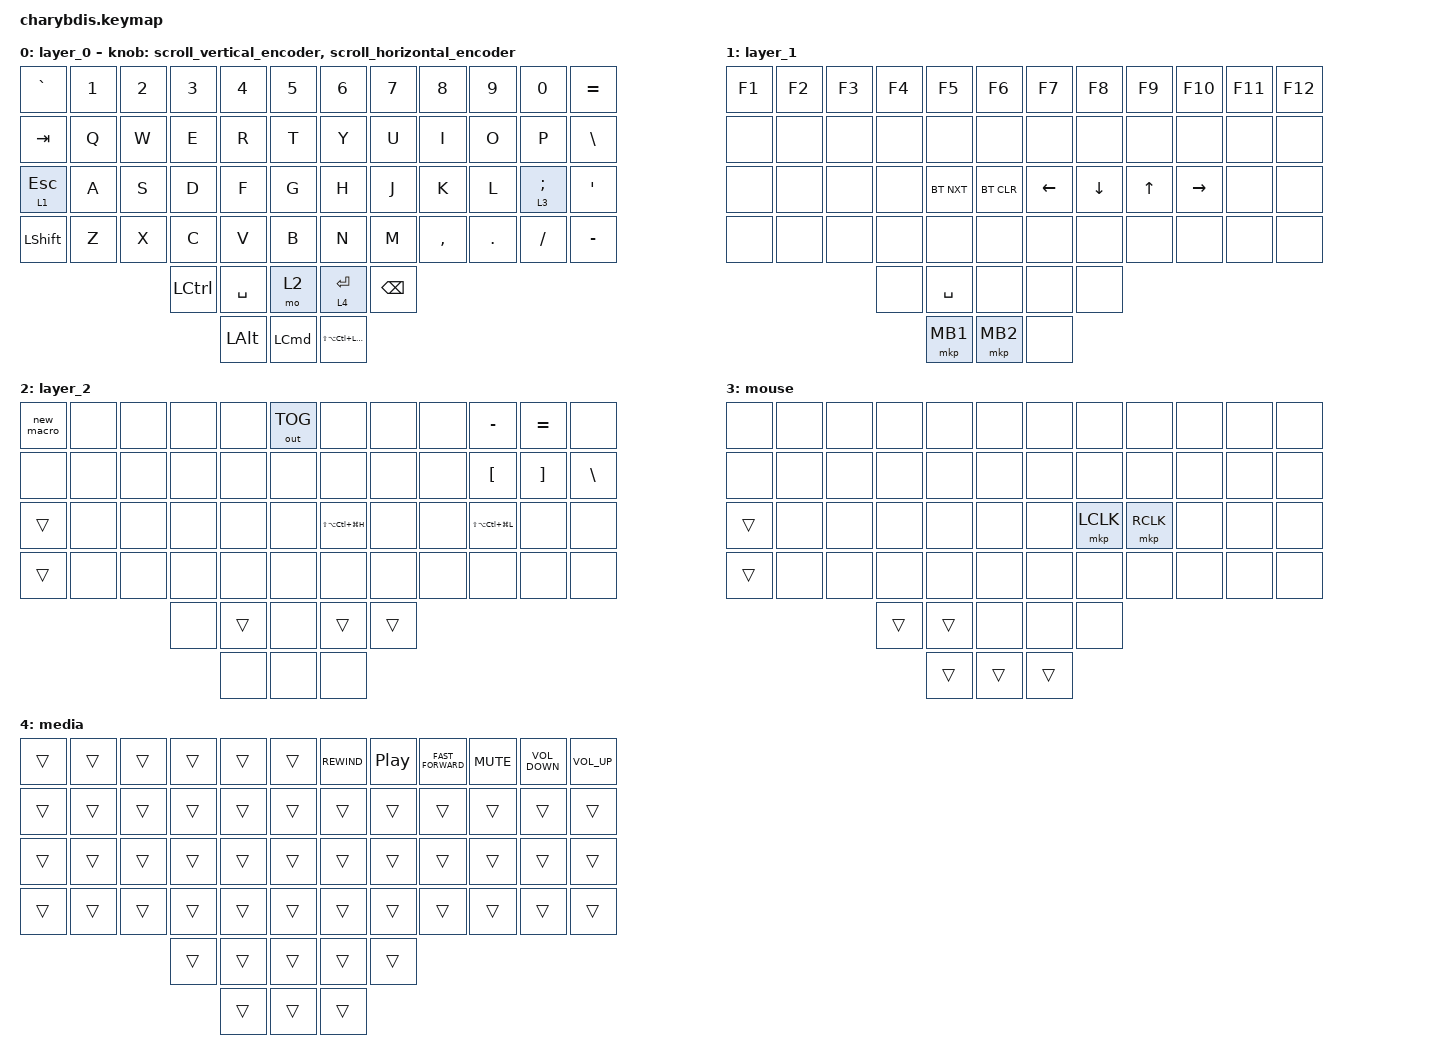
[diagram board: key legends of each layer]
#include <dt-bindings/zmk/mouse.h>
#include <input/processors.dtsi>
#include <zephyr/dt-bindings/input/input-event-codes.h>
#include <dt-bindings/zmk/input_transform.h>
#include <behaviors.dtsi>
#include <dt-bindings/zmk/bt.h>
#include <dt-bindings/zmk/keys.h>
#include <dt-bindings/zmk/outputs.h>
#include <dt-bindings/zmk/pointing.h>

#define ZMK_POINTING_DEFAULT_MOVE_VAL 1000 // 600
#define ZMK_POINTING_DEFAULT_SCRL_VAL 12   // 10

&lt {
    tapping-term-ms = <200>;
    flavor = "balanced";
    quick-tap-ms = <150>;
};

&mmv_input_listener { input-processors = <&zip_xy_scaler 3 3>; };

&mmv {
    acceleration-exponent = <1>;
    time-to-max-speed-ms = <250>;
    trigger-period-ms = <16>;
};

&msc_input_listener {
    input-processors =
        <&zip_scroll_scaler 1 1>,
        <&zip_scroll_transform (INPUT_TRANSFORM_Y_INVERT)>;
};

&msc {
    acceleration-exponent = <0>;
    time-to-max-speed-ms = <200>;
    delay-ms = <0>;
};

/ {
    // 上下滚动编码器行为

    scroll_vertical_encoder: scroll_vertical_encoder {
        compatible = "zmk,behavior-sensor-rotate";
        #sensor-binding-cells = <0>;
        bindings = <&msc SCRL_UP>, <&msc SCRL_DOWN>;

        tap-ms = <100>;
    };

    // 左右滚动编码器行为

    scroll_horizontal_encoder: scroll_horizontal_encoder {
        compatible = "zmk,behavior-sensor-rotate";
        #sensor-binding-cells = <0>;
        bindings = <&msc SCRL_RIGHT>, <&msc SCRL_LEFT>;

        tap-ms = <100>;
    };

    behaviors {
    };

    macros {
        new_macro: new_macro {
            compatible = "zmk,behavior-macro";
            #binding-cells = <0>;
            bindings = <&kp LS(Z) &kp I &kp G &kp LS(O) &kp V &kp E &kp R &kp LS(R) &kp U &kp S &kp T &kp N1 &kp N2 &kp N3 &kp EXCL>;
            label = "NEW_MACRO";
        };
    };

    keymap {
        compatible = "zmk,keymap";

        layer_0 {
            bindings = <
&kp GRAVE       &kp N1  &kp N2  &kp N3     &kp N4        &kp N5              &kp N6                    &kp N7         &kp N8     &kp N9      &kp N0           &kp EQUAL
&kp TAB         &kp Q   &kp W   &kp E      &kp R         &kp T               &kp Y                     &kp U          &kp I      &kp O       &kp P            &kp BACKSLASH
&lt 1 ESCAPE    &kp A   &kp S   &kp D      &kp F         &kp G               &kp H                     &kp J          &kp K      &kp L       &lt 3 SEMICOLON  &kp SQT
&kp LEFT_SHIFT  &kp Z   &kp X   &kp C      &kp V         &kp B               &kp N                     &kp M          &kp COMMA  &kp PERIOD  &kp FSLH         &kp MINUS
                                &kp LCTRL  &kp SPACE     &mo 2               &lt 4 ENTER               &kp BACKSPACE
                                           &kp LEFT_ALT  &kp LEFT_COMMAND    &kp LS(LA(LC(LEFT_GUI)))
            >;

            sensor-bindings =
                <&scroll_vertical_encoder>,
                // 编码器1：上下滚动,,,,,,,,,,,,,,,,,,,,,,,,
                <&scroll_horizontal_encoder>;

            // 编码器2：左右滚动
        };

        layer_1 {
            bindings = <
&kp F1  &kp F2  &kp F3  &kp F4  &kp F5      &kp F6        &kp F7          &kp F8          &kp F9        &kp F10    &kp F11  &kp F12
&none   &none   &none   &none   &none       &none         &none           &none           &none         &none      &none    &none
&none   &none   &none   &none   &bt BT_NXT  &bt BT_CLR    &kp LEFT_ARROW  &kp DOWN_ARROW  &kp UP_ARROW  &kp RIGHT  &none    &none
&none   &none   &none   &none   &none       &none         &none           &none           &none         &none      &none    &none
                        &none   &kp SPACE   &none         &none           &none
                                &mkp MB1    &mkp MB2      &none
            >;
        };

        layer_2 {
            bindings = <
&new_macro  &none  &none  &none  &none   &out OUT_TOG    &none                  &none   &none  &kp MINUS              &kp EQUAL          &none
&none       &none  &none  &none  &none   &none           &none                  &none   &none  &kp LEFT_BRACKET       &kp RIGHT_BRACKET  &kp BACKSLASH
&trans      &none  &none  &none  &none   &none           &kp LS(LA(LC(LG(H))))  &none   &none  &kp LS(LA(LC(LG(L))))  &none              &none
&trans      &none  &none  &none  &none   &none           &none                  &none   &none  &none                  &none              &none
                          &none  &trans  &none           &trans                 &trans
                                 &none   &none           &none
            >;
        };

        mouse {
            bindings = <
&none   &none  &none  &none   &none   &none     &none   &none      &none      &none  &none  &none
&none   &none  &none  &none   &none   &none     &none   &none      &none      &none  &none  &none
&trans  &none  &none  &none   &none   &none     &none   &mkp LCLK  &mkp RCLK  &none  &none  &none
&trans  &none  &none  &none   &none   &none     &none   &none      &none      &none  &none  &none
                      &trans  &trans  &none     &none   &none
                              &trans  &trans    &trans
            >;
        };

        media {
            bindings = <
&trans  &trans  &trans  &trans  &trans  &trans    &kp C_REWIND  &kp C_PLAY_PAUSE  &kp C_FAST_FORWARD  &kp K_MUTE  &kp C_VOLUME_DOWN  &kp C_VOLUME_UP
&trans  &trans  &trans  &trans  &trans  &trans    &trans        &trans            &trans              &trans      &trans             &trans
&trans  &trans  &trans  &trans  &trans  &trans    &trans        &trans            &trans              &trans      &trans             &trans
&trans  &trans  &trans  &trans  &trans  &trans    &trans        &trans            &trans              &trans      &trans             &trans
                        &trans  &trans  &trans    &trans        &trans
                                &trans  &trans    &trans
            >;
        };

        /* layer_2 {
            bindings = <
&none  &none   &none    &none   &none         &none         &kp N1         &none         &none     &none  &none   &to 0
&none  &none   &none    &none   &none         &none         &none         &none          &rgb_ug RGB_BRD &rgb_ug RGB_BRI  &rgb_ug RGB_EFF   &rgb_ug RGB_TOG
&none  &none   &none    &none   &none         &none         &none         &mkp LCLK     &mkp RCLK  &none  &none   &none
&none  &none   &none    &none   &bt BT_NXT  &bt BT_CLR    &none         &none         &none     &none  &none   &none
                                   &none         &none         &none         &none         &none
                                                 &none         &none         &none
            >;
       
            
        };

       Mouse {
            bindings = <
&none        &none         &none         &none         &none      &none         &none       &none      &none         &none         &none         &none
&none        &bt BT_SEL 0  &bt BT_SEL 1  &bt BT_SEL 3  &none      &bt BT_CLR    &bt BT_CLR  &none      &bt BT_SEL 2  &bt BT_SEL 1  &bt BT_SEL 0  &none
&none        &trans        &trans        &mkp MCLK     &trans     &none         &none       &trans     &mkp MCLK     &trans        &trans        &none
&bootloader  &trans        &mkp RCLK     &mo 4         &mkp LCLK  &mo 5         &mo 5       &mkp LCLK  &mo 4         &mkp RCLK     &trans        &bootloader
                                         &mo 5         &mkp LCLK  &mkp RCLK     &mkp RCLK   &mkp LCLK
                                                       &none      &trans        &trans
            >;

            
        };

        layer_4 {
            bindings = <
&trans  &trans  &trans     &trans     &trans     &trans       &trans     &trans     &trans     &trans     &trans  &trans
&trans  &trans  &trans     &trans     &trans     &trans       &trans     &trans     &trans     &trans     &trans  &trans
&trans  &trans  &trans     &mkp MCLK  &trans     &trans       &trans     &trans     &mkp MCLK  &trans     &trans  &trans
&trans  &trans  &mkp RCLK  &trans     &mkp LCLK  &trans       &trans     &mkp LCLK  &trans     &mkp RCLK  &trans  &trans
                           &trans     &mkp LCLK  &mkp RCLK    &mkp RCLK  &mkp LCLK
                                      &trans     &trans       &trans
            >;
                
                
               
        };

        layer_5 {
            bindings = <
&trans  &trans  &trans     &trans     &trans     &trans       &trans     &trans     &trans     &trans     &trans  &trans
&trans  &trans  &trans     &trans     &trans     &trans       &trans     &trans     &trans     &trans     &trans  &trans
&trans  &trans  &trans     &mkp MCLK  &trans     &trans       &trans     &trans     &mkp MCLK  &trans     &trans  &trans
&trans  &trans  &mkp RCLK  &trans     &mkp LCLK  &trans       &trans     &mkp LCLK  &trans     &mkp RCLK  &trans  &trans
                           &trans     &mkp LCLK  &mkp RCLK    &mkp RCLK  &mkp LCLK
                                      &trans     &trans       &trans
            >;
                
                
        };*/
    };
};
